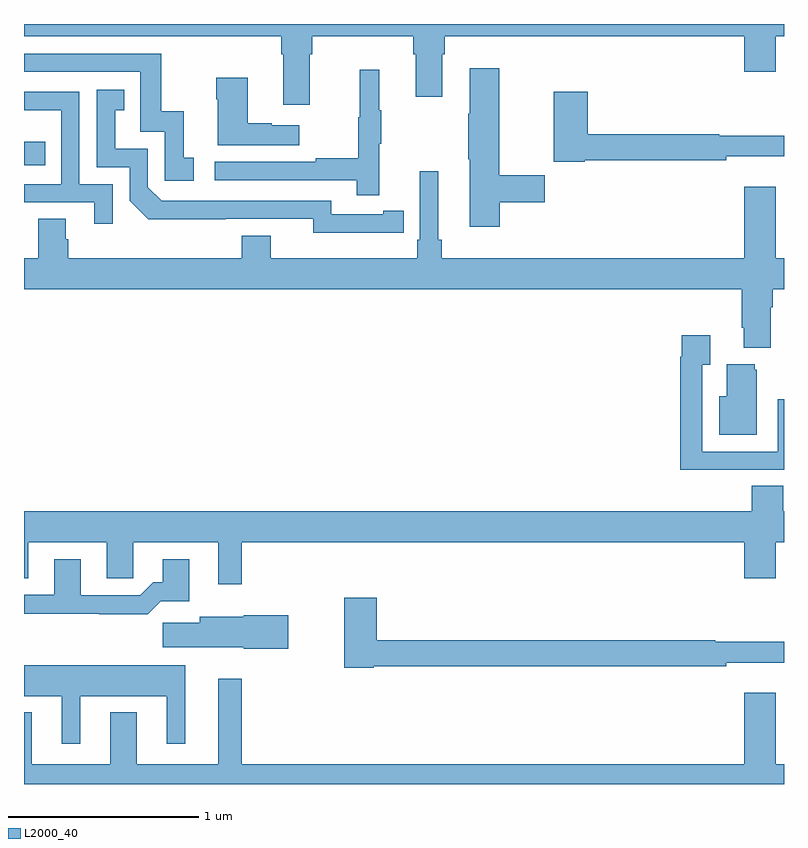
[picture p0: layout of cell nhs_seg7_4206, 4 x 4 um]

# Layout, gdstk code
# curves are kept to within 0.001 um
import gdstk
lib = gdstk.Library(unit=1e-6, precision=1e-09)
def R(c, l, rs):  # rectangles x0, y0, x1, y1
    for r in rs: c.add(gdstk.rectangle(r[:2], r[2:], *l))
def P(c, l, *ps):  # polygons
    for p in ps: c.add(gdstk.Polygon(p, *l))
L2000_40 = (2000, 40)

nhs_seg7_4206 = lib.new_cell('nhs_seg7_4206')
R(nhs_seg7_4206, L2000_40, [(377,1013.256,377.111,1013.379)])
P(nhs_seg7_4206, L2000_40, [(377,1013.936),(378.353,1013.936),(378.353,1013.84),(378.365,1013.84),(378.365,1013.574),(378.505,1013.574),(378.505,1013.84),(378.518,1013.84),(378.518,1013.936),(379.049,1013.936),(379.049,1013.84),(379.061,1013.84),(379.061,1013.616),(379.201,1013.616),(379.201,1013.84),(379.214,1013.84),(379.214,1013.936),(380.792,1013.936),(380.792,1013.748),(380.956,1013.748),(380.956,1013.936),(381,1013.936),(381,1014),(377,1014)],
  [(377.893,1013.295),(377.84,1013.295),(377.84,1013.542),(377.722,1013.542),(377.722,1013.844),(377,1013.844),(377,1013.748),(377.613,1013.748),(377.613,1013.433),(377.742,1013.433),(377.742,1013.175),(377.893,1013.175)],
  [(379.505,1013.062),(379.741,1013.062),(379.741,1013.204),(379.5,1013.204),(379.5,1013.767),(379.346,1013.767),(379.346,1013.528),(379.339,1013.528),(379.339,1013.287),(379.346,1013.287),(379.346,1012.932),(379.505,1012.932)],
  [(378.869,1013.371),(378.88,1013.371),(378.88,1013.545),(378.869,1013.545),(378.869,1013.758),(378.766,1013.758),(378.766,1013.508),(378.759,1013.508),(378.759,1013.294),(378.535,1013.294),(378.535,1013.274),(378.003,1013.274),(378.003,1013.178),(378.751,1013.178),(378.751,1013.1),(378.869,1013.1)],
  [(378.448,1013.467),(378.305,1013.467),(378.305,1013.477),(378.178,1013.477),(378.178,1013.716),(378.013,1013.716),(378.013,1013.603),(378.02,1013.603),(378.02,1013.363),(378.448,1013.363)],
  [(378.89,1012.902),(378.998,1012.902),(378.998,1013.018),(378.89,1013.018),(378.89,1012.998),(378.618,1012.998),(378.618,1013.07),(377.724,1013.07),(377.652,1013.142),(377.652,1013.343),(377.479,1013.343),(377.479,1013.547),(377.528,1013.547),(377.528,1013.653),(377.382,1013.653),(377.382,1013.247),(377.556,1013.247),(377.556,1013.07),(377.654,1012.973),(378.522,1012.974),(378.522,1012.901)],
  [(379.95,1013.284),(380.696,1013.284),(380.696,1013.303),(381,1013.303),(381,1013.413),(380.659,1013.413),(380.659,1013.42),(379.967,1013.42),(379.967,1013.644),(379.789,1013.644),(379.789,1013.276),(379.95,1013.276)],
  [(377.466,1013.157),(377.292,1013.157),(377.292,1013.643),(377,1013.643),(377,1013.546),(377.196,1013.546),(377.196,1013.157),(377,1013.157),(377,1013.061),(377.369,1013.061),(377.369,1012.95),(377.466,1012.95)],
  [(380.929,1012.508),(380.942,1012.508),(380.942,1012.604),(381,1012.604),(381,1012.768),(380.956,1012.768),(380.956,1013.143),(380.792,1013.143),(380.792,1012.768),(379.199,1012.768),(379.199,1012.864),(379.18,1012.864),(379.18,1013.224),(379.083,1013.224),(379.083,1012.864),(379.07,1012.864),(379.07,1012.768),(378.298,1012.768),(378.298,1012.885),(378.146,1012.885),(378.146,1012.768),(377.234,1012.768),(377.234,1012.866),(377.221,1012.866),(377.221,1012.976),(377.074,1012.976),(377.074,1012.768),(377,1012.768),(377,1012.604),(380.777,1012.604),(380.777,1012.402),(380.789,1012.402),(380.789,1012.295),(380.929,1012.295)],
  [(380.747,1011.654),(381,1011.654),(381,1012.024),(380.967,1012.024),(380.967,1011.75),(380.571,1011.75),(380.571,1012.207),(380.611,1012.207),(380.611,1012.363),(380.463,1012.363),(380.463,1012.25),(380.455,1012.25),(380.455,1011.653),(380.747,1011.653)],
  [(380.857,1012.179),(380.846,1012.179),(380.846,1012.21),(380.699,1012.21),(380.699,1012.042),(380.66,1012.042),(380.66,1011.839),(380.857,1011.839)],
  [(378.145,1011.272),(380.792,1011.272),(380.792,1011.084),(380.956,1011.084),(380.956,1011.272),(381,1011.272),(381,1011.436),(380.996,1011.436),(380.996,1011.569),(380.831,1011.569),(380.831,1011.436),(377,1011.436),(377,1011.082),(377.023,1011.082),(377.023,1011.272),(377.435,1011.272),(377.435,1011.082),(377.574,1011.082),(377.574,1011.272),(378.023,1011.272),(378.023,1011.051),(378.145,1011.051)],
  [(377.72,1010.963),(377.869,1010.963),(377.869,1011.184),(377.729,1011.184),(377.729,1011.061),(377.68,1011.061),(377.613,1010.994),(377.299,1010.994),(377.299,1011.184),(377.159,1011.184),(377.159,1010.997),(377,1010.997),(377,1010.896),(377.395,1010.896),(377.395,1010.894),(377.651,1010.894)],
  [(378.84,1010.62),(380.696,1010.62),(380.696,1010.639),(381,1010.639),(381,1010.749),(380.638,1010.749),(380.638,1010.756),(378.857,1010.756),(378.857,1010.98),(378.686,1010.98),(378.686,1010.612),(378.84,1010.612)],
  [(378.391,1010.889),(378.156,1010.889),(378.156,1010.881),(377.924,1010.881),(377.924,1010.849),(377.73,1010.849),(377.73,1010.72),(378.156,1010.72),(378.156,1010.711),(378.391,1010.711)],
  [(377.296,1010.462),(377.75,1010.462),(377.75,1010.211),(377.848,1010.211),(377.848,1010.626),(377,1010.626),(377,1010.462),(377.198,1010.462),(377.198,1010.211),(377.296,1010.211)],
  [(381,1010.104),(380.956,1010.104),(380.956,1010.479),(380.792,1010.479),(380.792,1010.104),(378.145,1010.104),(378.145,1010.554),(378.023,1010.554),(378.023,1010.104),(377.593,1010.104),(377.593,1010.377),(377.453,1010.377),(377.453,1010.104),(377.041,1010.104),(377.041,1010.377),(377,1010.377),(377,1010),(381,1010)])

lib.write_gds('nhs_seg7_4206.gds')
